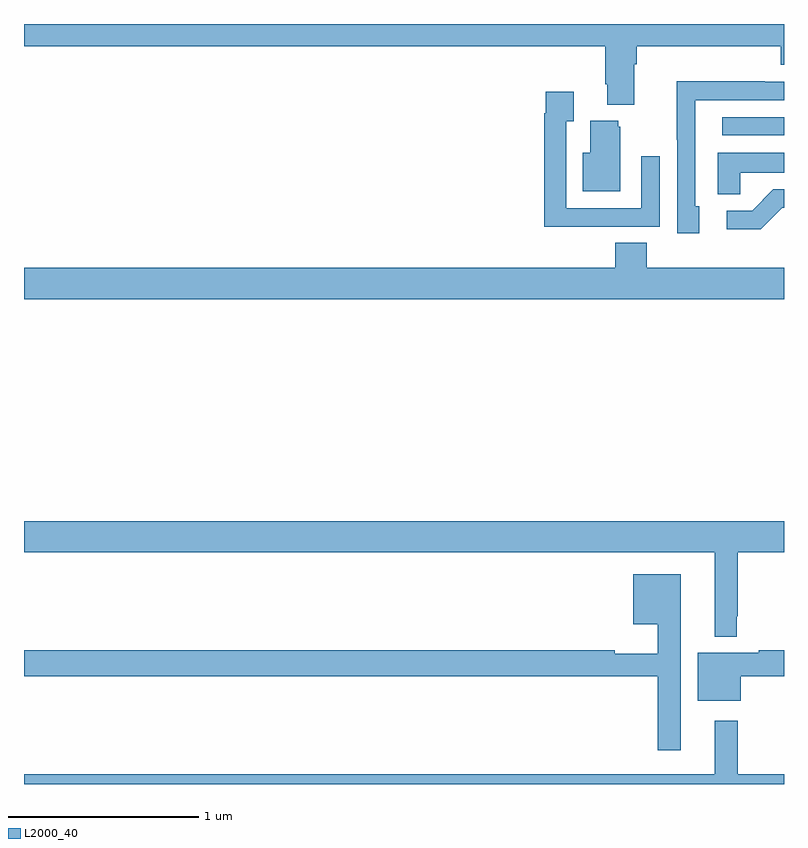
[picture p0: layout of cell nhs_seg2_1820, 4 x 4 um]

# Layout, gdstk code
import gdstk
lib = gdstk.Library(unit=1e-6, precision=1e-09)
def R(c, l, rs):  # rectangles x0, y0, x1, y1
    for r in rs: c.add(gdstk.rectangle(r[:2], r[2:], *l))
def P(c, l, *ps):  # polygons
    for p in ps: c.add(gdstk.Polygon(p, *l))
L2000_40 = (2000, 40)

nhs_seg2_1820 = lib.new_cell('nhs_seg2_1820')
R(nhs_seg2_1820, L2000_40, [(210.675,599.214,211,599.31)])
P(nhs_seg2_1820, L2000_40, [(210.211,599.588),(210.224,599.588),(210.224,599.684),(210.983,599.684),(210.983,599.585),(211,599.585),(211,599.8),(207,599.8),(207,599.684),(210.059,599.684),(210.059,599.482),(210.071,599.482),(210.071,599.375),(210.211,599.375)],
  [(210.553,598.842),(210.534,598.842),(210.534,599.4),(211,599.4),(211,599.496),(210.899,599.496),(210.899,599.498),(210.436,599.498),(210.436,599.191),(210.438,599.191),(210.438,598.698),(210.553,598.698)],
  [(210.029,598.734),(210.345,598.734),(210.345,599.104),(210.249,599.104),(210.249,598.83),(209.853,598.83),(209.853,599.287),(209.893,599.287),(209.893,599.443),(209.745,599.443),(209.745,599.33),(209.737,599.33),(209.737,598.733),(210.029,598.733)],
  [(210.139,599.259),(210.128,599.259),(210.128,599.29),(209.981,599.29),(209.981,599.122),(209.942,599.122),(209.942,598.919),(210.139,598.919)],
  [(210.771,599.018),(211,599.018),(211,599.122),(210.65,599.122),(210.65,598.903),(210.771,598.903)],
  [(210.99,598.833),(211,598.833),(211,598.929),(210.944,598.929),(210.833,598.818),(210.699,598.818),(210.699,598.721),(210.877,598.721)],
  [(211,598.516),(210.278,598.516),(210.278,598.649),(210.113,598.649),(210.113,598.516),(207,598.516),(207,598.352),(211,598.352)],
  [(210.75,596.683),(210.757,596.683),(210.757,597.02),(211,597.02),(211,597.184),(207,597.184),(207,597.02),(210.635,597.02),(210.635,596.576),(210.75,596.576)],
  [(210.457,596.905),(210.206,596.905),(210.206,596.642),(210.336,596.642),(210.336,596.485),(210.11,596.485),(210.11,596.504),(207,596.504),(207,596.368),(210.336,596.368),(210.336,595.977),(210.457,595.977)],
  [(210.772,596.368),(211,596.368),(211,596.504),(210.868,596.504),(210.868,596.491),(210.545,596.491),(210.545,596.237),(210.772,596.237)],
  [(211,595.852),(210.757,595.852),(210.757,596.134),(210.635,596.134),(210.635,595.852),(207,595.852),(207,595.8),(211,595.8)])

lib.write_gds('nhs_seg2_1820.gds')
